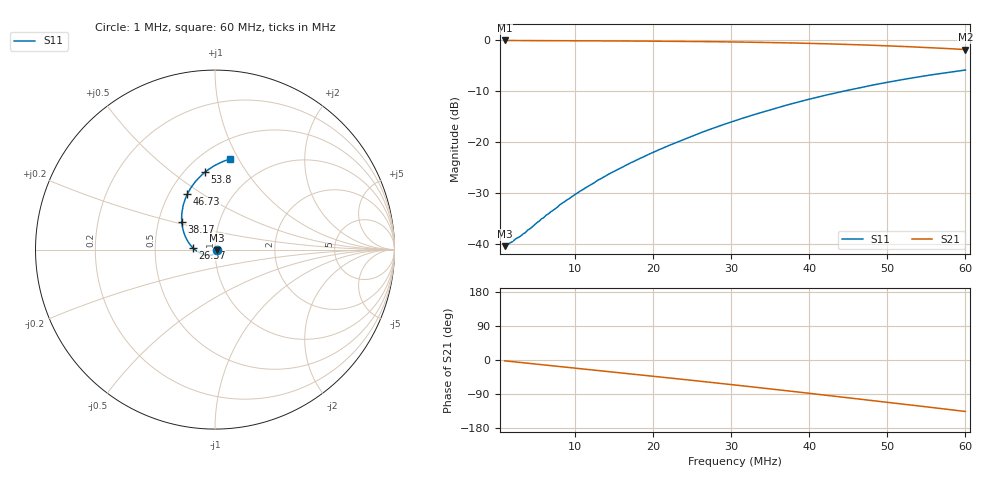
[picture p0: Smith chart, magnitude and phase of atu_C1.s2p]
! S11/S21 from S-A-A-2 VNA
! Written 2026-11-14 07:43:28 by the saav2 MCP server
! S12 and S22 were not measured (1.5-port VNA) and are written as 0
# HZ S RI R 50
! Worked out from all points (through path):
!   201 points, 1 MHz to 60 MHz, reference 50 ohm
!   highest |S21| = -0.02 dB at 1 MHz (marker M1); lowest = -1.8 dB at 60 MHz (marker M2)
!   group delay of S21, straight-line fit = 6.28 ns
!   lowest |S11| = -40.5 dB at 1 MHz (marker M3), VSWR 1.02, Z = 50.9 - j0.247 ohm
!   |S11| at or under -10 dB: start of sweep to 44.41 MHz
!   S12 and S22 are empty: the file has one direction only
!   S11 on the Smith chart (normalised r, x): 1 MHz: 1.02, -0.00; 26.37 MHz: 0.78, +0.02; 38.17 MHz: 0.66, +0.22; 46.73 MHz: 0.62, +0.43; 53.8 MHz: 0.62, +0.66; 60 MHz: 0.67, +0.92
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1000000  0.00913 -0.00242  0.9966 -0.0375  0 0  0 0
1295000  0.00901 -0.0032  0.9954 -0.0491  0 0  0 0
2475000  0.00877 -0.00702  0.991 -0.0925  0 0  0 0
3655000  0.00724 -0.0106  0.9849 -0.1358  0 0  0 0
5720000  0.00316 -0.0173  0.9708 -0.21  0 0  0 0
6015000  0.00242 -0.0179  0.9679 -0.2204  0 0  0 0
8080000  -0.00435 -0.0237  0.9473 -0.2933  0 0  0 0
1.103e7  -0.017 -0.0295  0.9076 -0.3942  0 0  0 0
1.4275e7  -0.0354 -0.0324  0.8515 -0.4991  0 0  0 0
1.752e7  -0.057 -0.0295  0.7822 -0.5974  0 0  0 0
2.0765e7  -0.0814 -0.0207  0.7004 -0.6855  0 0  0 0
2.637e7  -0.125 0.0113  0.5334 -0.813  0 0  0 0
3.05e7  -0.1539 0.0501  0.3925 -0.8801  0 0  0 0
3.4335e7  -0.1746 0.0979  0.2521 -0.92  0 0  0 0
3.817e7  -0.1851 0.1563  0.1064 -0.9352  0 0  0 0
4.053e7  -0.1854 0.1962  0.0157 -0.9317  0 0  0 0
4.3775e7  -0.1749 0.254  -0.1066 -0.911  0 0  0 0
4.6725e7  -0.1543 0.3085  -0.2136 -0.876  0 0  0 0
5.0265e7  -0.1138 0.3726  -0.3326 -0.816  0 0  0 0
5.3805e7  -0.0567 0.431  -0.4384 -0.7377  0 0  0 0
5.764e7  0.0237 0.4812  -0.5346 -0.6357  0 0  0 0
6e7  0.0808 0.5041  -0.582 -0.5662  0 0  0 0
